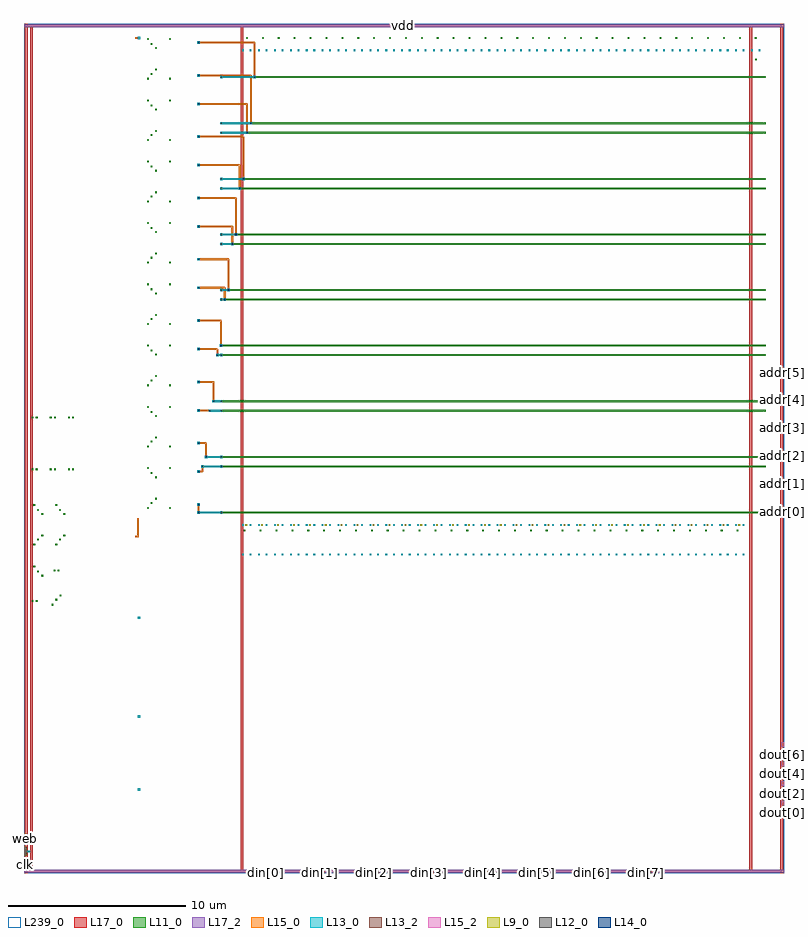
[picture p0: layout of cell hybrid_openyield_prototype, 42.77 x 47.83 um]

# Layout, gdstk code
import gdstk
lib = gdstk.Library(unit=1e-6, precision=5e-10)
def R(c, l, rs):  # rectangles x0, y0, x1, y1
    for r in rs: c.add(gdstk.rectangle(r[:2], r[2:], *l))
def A(c, l, x, y, w, h, nx, ny, dx, dy):  # array of equal rectangles
    R(c, l, [(x+i*dx, y+j*dy, x+i*dx+w, y+j*dy+h) for i in range(nx) for j in range(ny)])
L9_0 = (9, 0)
L11_0 = (11, 0)
L12_0 = (12, 0)
L13_0 = (13, 0)
L13_2 = (13, 2)
L14_0 = (14, 0)
L15_0 = (15, 0)
L15_2 = (15, 2)
L17_0 = (17, 0)
L17_2 = (17, 2)
L239_0 = (239, 0)

hybrid_openyield_prototy = lib.new_cell('hybrid_openyield_prototype')
A(hybrid_openyield_prototy, L9_0, 12.465, 19.575, 0.09, 0.09, 32, 1, 0.895, 0)
A(hybrid_openyield_prototy, L11_0, 12.3725, 19.2675, 0.09, 0.09, 32, 1, 0.895, 0)
A(hybrid_openyield_prototy, L11_0, 12.5, 46.97, 0.09, 0.09, 33, 1, 0.895, 0)
R(hybrid_openyield_prototy, L11_0, [(1.5525,15.08,1.6425,15.17), (0.4375,15.29,0.5275,15.38), (0.67,15.29,0.76,15.38), (1.7675,15.36,1.8575,15.45), (2.005,15.5925,2.095,15.6825), (0.9825,16.7125,1.0725,16.8025), (0.745,16.945,0.835,17.035), (1.675,17.015,1.765,17.105), (1.9075,17.015,1.9975,17.105), (0.53,17.225,0.62,17.315), (0.53,18.465,0.62,18.555), (1.7675,18.465,1.8575,18.555), (0.745,18.745,0.835,18.835), (1.9825,18.745,2.0725,18.835), (0.9825,18.9775,1.0725,19.0675), (2.22,18.9775,2.31,19.0675), (0.9825,20.1875,1.0725,20.2775), (2.22,20.1875,2.31,20.2775), (11.0325,20.2475,11.1675,20.3825), (11.1,20.27,41.74,20.36), (0.745,20.42,0.835,20.51), (1.9825,20.42,2.0725,20.51), (6.925,20.53,7.015,20.62), (8.1625,20.53,8.2525,20.62), (0.53,20.7,0.62,20.79), (1.7675,20.7,1.8575,20.79), (9.7625,20.7025,9.8975,20.8375), (9.785,20.725,9.875,20.815), (7.14,20.81,7.23,20.9), (7.3775,21.0425,7.4675,21.1325), (7.3775,22.2525,7.4675,22.3425), (7.14,22.485,7.23,22.575), (9.7625,22.5475,9.8975,22.6825), (9.785,22.57,9.875,22.66), (0.4375,22.7025,0.5275,22.7925), (0.67,22.7025,0.76,22.7925), (1.46,22.7025,1.55,22.7925), (1.6925,22.7025,1.7825,22.7925), (2.4825,22.7025,2.5725,22.7925), (2.715,22.7025,2.805,22.7925), (6.925,22.765,7.015,22.855), (8.1625,22.765,8.2525,22.855), (11.0325,22.8425,11.1675,22.9775), (11.1,22.865,41.74,22.955), (11.0325,23.3775,11.1675,23.5125), (11.1,23.4,41.74,23.49), (6.925,23.98,7.015,24.07), (8.1625,23.98,8.2525,24.07), (9.7625,24.1525,9.8975,24.2875), (9.785,24.175,9.875,24.265), (7.14,24.26,7.23,24.35), (7.3775,24.4925,7.4675,24.5825), (0.4375,25.6225,0.5275,25.7125), (0.67,25.6225,0.76,25.7125), (1.46,25.6225,1.55,25.7125), (1.6925,25.6225,1.7825,25.7125), (2.4825,25.6225,2.5725,25.7125), (2.715,25.6225,2.805,25.7125), (7.3775,25.7025,7.4675,25.7925), (7.14,25.935,7.23,26.025), (11.0325,25.9725,11.1675,26.1075), (11.1,25.995,41.74,26.085), (9.7625,25.9975,9.8975,26.1325), (9.785,26.02,9.875,26.11), (6.925,26.215,7.015,26.305), (8.1625,26.215,8.2525,26.305), (11.0325,26.5075,11.1675,26.6425), (11.1,26.53,41.74,26.62), (6.925,27.43,7.015,27.52), (8.1625,27.43,8.2525,27.52), (9.7625,27.6025,9.8975,27.7375), (9.785,27.625,9.875,27.715), (7.14,27.71,7.23,27.8), (7.3775,27.9425,7.4675,28.0325), (11.0325,29.1025,11.1675,29.2375), (11.1,29.125,41.74,29.215), (7.3775,29.1525,7.4675,29.2425), (7.14,29.385,7.23,29.475), (9.7625,29.4475,9.8975,29.5825), (9.785,29.47,9.875,29.56), (11.0325,29.6375,11.1675,29.7725), (11.1,29.66,41.74,29.75), (6.925,29.665,7.015,29.755), (8.1625,29.665,8.2525,29.755), (6.925,30.88,7.015,30.97), (8.1625,30.88,8.2525,30.97), (9.7625,31.0525,9.8975,31.1875), (9.785,31.075,9.875,31.165), (7.14,31.16,7.23,31.25), (7.3775,31.3925,7.4675,31.4825), (11.0325,32.2325,11.1675,32.3675), (11.1,32.255,41.74,32.345), (7.3775,32.6025,7.4675,32.6925), (11.0325,32.7675,11.1675,32.9025), (11.1,32.79,41.74,32.88), (7.14,32.835,7.23,32.925), (9.7625,32.8975,9.8975,33.0325), (9.785,32.92,9.875,33.01), (6.925,33.115,7.015,33.205), (8.1625,33.115,8.2525,33.205), (6.925,34.33,7.015,34.42), (8.1625,34.33,8.2525,34.42), (9.7625,34.5025,9.8975,34.6375), (9.785,34.525,9.875,34.615), (7.14,34.61,7.23,34.7), (7.3775,34.8425,7.4675,34.9325), (11.0325,35.3625,11.1675,35.4975), (11.1,35.385,41.74,35.475), (11.0325,35.8975,11.1675,36.0325), (11.1,35.92,41.74,36.01), (7.3775,36.0525,7.4675,36.1425), (7.14,36.285,7.23,36.375), (9.7625,36.3475,9.8975,36.4825), (9.785,36.37,9.875,36.46), (6.925,36.565,7.015,36.655), (8.1625,36.565,8.2525,36.655), (6.925,37.78,7.015,37.87), (8.1625,37.78,8.2525,37.87), (9.7625,37.9525,9.8975,38.0875), (9.785,37.975,9.875,38.065), (7.14,38.06,7.23,38.15), (7.3775,38.2925,7.4675,38.3825), (11.0325,38.4925,11.1675,38.6275), (11.1,38.515,41.74,38.605), (11.0325,39.0275,11.1675,39.1625), (11.1,39.05,41.74,39.14), (7.3775,39.5025,7.4675,39.5925), (7.14,39.735,7.23,39.825), (9.7625,39.7975,9.8975,39.9325), (9.785,39.82,9.875,39.91), (6.925,40.015,7.015,40.105), (8.1625,40.015,8.2525,40.105), (6.925,41.23,7.015,41.32), (8.1625,41.23,8.2525,41.32), (9.7625,41.4025,9.8975,41.5375), (9.785,41.425,9.875,41.515), (7.14,41.51,7.23,41.6), (11.0325,41.6225,11.1675,41.7575), (11.1,41.645,41.74,41.735), (7.3775,41.7425,7.4675,41.8325), (11.0325,42.1575,11.1675,42.2925), (11.1,42.18,41.74,42.27), (7.3775,42.9525,7.4675,43.0425), (7.14,43.185,7.23,43.275), (9.7625,43.2475,9.8975,43.3825), (9.785,43.27,9.875,43.36), (6.925,43.465,7.015,43.555), (8.1625,43.465,8.2525,43.555), (6.925,44.68,7.015,44.77), (8.1625,44.68,8.2525,44.77), (11.0325,44.7525,11.1675,44.8875), (11.1,44.775,41.74,44.865), (9.7625,44.8525,9.8975,44.9875), (9.785,44.875,9.875,44.965), (7.14,44.96,7.23,45.05), (7.3775,45.1925,7.4675,45.2825), (41.16,45.7725,41.25,45.8625), (7.3775,46.4025,7.4675,46.4925), (7.14,46.635,7.23,46.725), (9.7625,46.6975,9.8975,46.8325), (9.785,46.72,9.875,46.81), (6.925,46.915,7.015,47.005), (8.1625,46.915,8.2525,47.005)])
R(hybrid_openyield_prototy, L12_0, [(11.0675,20.2825,11.1325,20.3475), (9.7975,20.7375,9.8625,20.8025), (9.7975,22.5825,9.8625,22.6475), (11.0675,22.8775,11.1325,22.9425), (11.0675,23.4125,11.1325,23.4775), (9.7975,24.1875,9.8625,24.2525), (11.0675,26.0075,11.1325,26.0725), (9.7975,26.0325,9.8625,26.0975), (11.0675,26.5425,11.1325,26.6075), (9.7975,27.6375,9.8625,27.7025), (11.0675,29.1375,11.1325,29.2025), (9.7975,29.4825,9.8625,29.5475), (11.0675,29.6725,11.1325,29.7375), (9.7975,31.0875,9.8625,31.1525), (11.0675,32.2675,11.1325,32.3325), (11.0675,32.8025,11.1325,32.8675), (9.7975,32.9325,9.8625,32.9975), (9.7975,34.5375,9.8625,34.6025), (11.0675,35.3975,11.1325,35.4625), (11.0675,35.9325,11.1325,35.9975), (9.7975,36.3825,9.8625,36.4475), (9.7975,37.9875,9.8625,38.0525), (11.0675,38.5275,11.1325,38.5925), (11.0675,39.0625,11.1325,39.1275), (9.7975,39.8325,9.8625,39.8975), (9.7975,41.4375,9.8625,41.5025), (11.0675,41.6575,11.1325,41.7225), (11.0675,42.1925,11.1325,42.2575), (9.7975,43.2825,9.8625,43.3475), (11.0675,44.7875,11.1325,44.8525), (9.7975,44.8875,9.8625,44.9525), (9.7975,46.7325,9.8625,46.7975)])
A(hybrid_openyield_prototy, L13_0, 13.37, 0, 0.5, 0.16, 8, 1, 3.06, 0)
A(hybrid_openyield_prototy, L13_0, 0, 0.2425, 0.16, 0.5, 1, 3, 0, 0.75)
A(hybrid_openyield_prototy, L13_0, 0.16, 0.4575, 0.1825, 0.07, 1, 3, 0, 0.75)
R(hybrid_openyield_prototy, L13_0, [(6.395,4.6525,6.53,4.7875), (6.395,8.7575,6.53,8.8925), (6.395,14.325,6.53,14.46), (12.2875,17.8975,12.3775,17.9875), (12.7125,17.8975,12.8025,17.9875), (13.1825,17.8975,13.2725,17.9875), (13.6075,17.8975,13.6975,17.9875), (14.0775,17.8975,14.1675,17.9875), (14.5025,17.8975,14.5925,17.9875), (14.9725,17.8975,15.0625,17.9875), (15.3975,17.8975,15.4875,17.9875), (15.8675,17.8975,15.9575,17.9875), (16.2925,17.8975,16.3825,17.9875), (16.7625,17.8975,16.8525,17.9875), (17.1875,17.8975,17.2775,17.9875), (17.6575,17.8975,17.7475,17.9875), (18.0825,17.8975,18.1725,17.9875), (18.5525,17.8975,18.6425,17.9875), (18.9775,17.8975,19.0675,17.9875), (19.4475,17.8975,19.5375,17.9875), (19.8725,17.8975,19.9625,17.9875), (20.3425,17.8975,20.4325,17.9875), (20.7675,17.8975,20.8575,17.9875), (21.2375,17.8975,21.3275,17.9875), (21.6625,17.8975,21.7525,17.9875), (22.1325,17.8975,22.2225,17.9875), (22.5575,17.8975,22.6475,17.9875), (23.0275,17.8975,23.1175,17.9875), (23.4525,17.8975,23.5425,17.9875), (23.9225,17.8975,24.0125,17.9875), (24.3475,17.8975,24.4375,17.9875), (24.8175,17.8975,24.9075,17.9875), (25.2425,17.8975,25.3325,17.9875), (25.7125,17.8975,25.8025,17.9875), (26.1375,17.8975,26.2275,17.9875), (26.6075,17.8975,26.6975,17.9875), (27.0325,17.8975,27.1225,17.9875), (27.5025,17.8975,27.5925,17.9875), (27.9275,17.8975,28.0175,17.9875), (28.3975,17.8975,28.4875,17.9875), (28.8225,17.8975,28.9125,17.9875), (29.2925,17.8975,29.3825,17.9875), (29.7175,17.8975,29.8075,17.9875), (30.1875,17.8975,30.2775,17.9875), (30.6125,17.8975,30.7025,17.9875), (31.0825,17.8975,31.1725,17.9875), (31.5075,17.8975,31.5975,17.9875), (31.9775,17.8975,32.0675,17.9875), (32.4025,17.8975,32.4925,17.9875), (32.8725,17.8975,32.9625,17.9875), (33.2975,17.8975,33.3875,17.9875), (33.7675,17.8975,33.8575,17.9875), (34.1925,17.8975,34.2825,17.9875), (34.6625,17.8975,34.7525,17.9875), (35.0875,17.8975,35.1775,17.9875), (35.5575,17.8975,35.6475,17.9875), (35.9825,17.8975,36.0725,17.9875), (36.4525,17.8975,36.5425,17.9875), (36.8775,17.8975,36.9675,17.9875), (37.3475,17.8975,37.4375,17.9875), (37.7725,17.8975,37.8625,17.9875), (38.2425,17.8975,38.3325,17.9875), (38.6675,17.8975,38.7575,17.9875), (39.1375,17.8975,39.2275,17.9875), (39.5625,17.8975,39.6525,17.9875), (40.0325,17.8975,40.1225,17.9875), (40.4575,17.8975,40.5475,17.9875), (12.2875,19.5575,12.3775,19.6475), (12.7125,19.5575,12.8025,19.6475), (13.1825,19.5575,13.2725,19.6475), (13.6075,19.5575,13.6975,19.6475), (14.0775,19.5575,14.1675,19.6475), (14.5025,19.5575,14.5925,19.6475), (14.9725,19.5575,15.0625,19.6475), (15.3975,19.5575,15.4875,19.6475), (15.8675,19.5575,15.9575,19.6475), (16.2925,19.5575,16.3825,19.6475), (16.7625,19.5575,16.8525,19.6475), (17.1875,19.5575,17.2775,19.6475), (17.6575,19.5575,17.7475,19.6475), (18.0825,19.5575,18.1725,19.6475), (18.5525,19.5575,18.6425,19.6475), (18.9775,19.5575,19.0675,19.6475), (19.4475,19.5575,19.5375,19.6475), (19.8725,19.5575,19.9625,19.6475), (20.3425,19.5575,20.4325,19.6475), (20.7675,19.5575,20.8575,19.6475), (21.2375,19.5575,21.3275,19.6475), (21.6625,19.5575,21.7525,19.6475), (22.1325,19.5575,22.2225,19.6475), (22.5575,19.5575,22.6475,19.6475), (23.0275,19.5575,23.1175,19.6475), (23.4525,19.5575,23.5425,19.6475), (23.9225,19.5575,24.0125,19.6475), (24.3475,19.5575,24.4375,19.6475), (24.8175,19.5575,24.9075,19.6475), (25.2425,19.5575,25.3325,19.6475), (25.7125,19.5575,25.8025,19.6475), (26.1375,19.5575,26.2275,19.6475), (26.6075,19.5575,26.6975,19.6475), (27.0325,19.5575,27.1225,19.6475), (27.5025,19.5575,27.5925,19.6475), (27.9275,19.5575,28.0175,19.6475), (28.3975,19.5575,28.4875,19.6475), (28.8225,19.5575,28.9125,19.6475), (29.2925,19.5575,29.3825,19.6475), (29.7175,19.5575,29.8075,19.6475), (30.1875,19.5575,30.2775,19.6475), (30.6125,19.5575,30.7025,19.6475), (31.0825,19.5575,31.1725,19.6475), (31.5075,19.5575,31.5975,19.6475), (31.9775,19.5575,32.0675,19.6475), (32.4025,19.5575,32.4925,19.6475), (32.8725,19.5575,32.9625,19.6475), (33.2975,19.5575,33.3875,19.6475), (33.7675,19.5575,33.8575,19.6475), (34.1925,19.5575,34.2825,19.6475), (34.6625,19.5575,34.7525,19.6475), (35.0875,19.5575,35.1775,19.6475), (35.5575,19.5575,35.6475,19.6475), (35.9825,19.5575,36.0725,19.6475), (36.4525,19.5575,36.5425,19.6475), (36.8775,19.5575,36.9675,19.6475), (37.3475,19.5575,37.4375,19.6475), (37.7725,19.5575,37.8625,19.6475), (38.2425,19.5575,38.3325,19.6475), (38.6675,19.5575,38.7575,19.6475), (39.1375,19.5575,39.2275,19.6475), (39.5625,19.5575,39.6525,19.6475), (40.0325,19.5575,40.1225,19.6475), (40.4575,19.5575,40.5475,19.6475), (9.7625,20.2475,9.8975,20.3825), (11.0325,20.2475,11.1675,20.3825), (9.83,20.27,11.1,20.36), (9.7625,20.7025,9.8975,20.8375), (9.7625,22.5475,9.8975,22.6825), (9.9725,22.8425,10.1075,22.9775), (11.0325,22.8425,11.1675,22.9775), (10.04,22.865,11.1,22.955), (10.1825,23.3775,10.3175,23.5125), (11.0325,23.3775,11.1675,23.5125), (10.25,23.4,11.1,23.49), (9.7625,24.1525,9.8975,24.2875), (10.3925,25.9725,10.5275,26.1075), (11.0325,25.9725,11.1675,26.1075), (10.46,25.995,11.1,26.085), (9.7625,25.9975,9.8975,26.1325), (10.6025,26.5075,10.7375,26.6425), (11.0325,26.5075,11.1675,26.6425), (10.67,26.53,11.1,26.62), (9.7625,27.6025,9.8975,27.7375), (10.8125,29.1025,10.9475,29.2375), (11.0325,29.1025,11.1675,29.2375), (10.88,29.125,11.1,29.215), (9.7625,29.4475,9.8975,29.5825), (11.0225,29.6375,11.1675,29.7725), (11.05,29.66,11.14,29.75), (9.7625,31.0525,9.8975,31.1875), (11.0325,32.2325,11.1675,32.3675), (11.2325,32.2325,11.3675,32.3675), (11.1,32.255,11.3,32.345), (11.0325,32.7675,11.1675,32.9025), (11.4425,32.7675,11.5775,32.9025), (11.1,32.79,11.51,32.88), (9.7625,32.8975,9.8975,33.0325), (9.7625,34.5025,9.8975,34.6375), (11.0325,35.3625,11.1675,35.4975), (11.6525,35.3625,11.7875,35.4975), (11.1,35.385,11.72,35.475), (11.0325,35.8975,11.1675,36.0325), (11.8625,35.8975,11.9975,36.0325), (11.1,35.92,11.93,36.01), (9.7625,36.3475,9.8975,36.4825), (9.7625,37.9525,9.8975,38.0875), (11.0325,38.4925,11.1675,38.6275), (12.0725,38.4925,12.2075,38.6275), (11.1,38.515,12.14,38.605), (11.0325,39.0275,11.1675,39.1625), (12.2825,39.0275,12.4175,39.1625), (11.1,39.05,12.35,39.14), (9.7625,39.7975,9.8975,39.9325), (9.7625,41.4025,9.8975,41.5375), (11.0325,41.6225,11.1675,41.7575), (12.4925,41.6225,12.6275,41.7575), (11.1,41.645,12.56,41.735), (11.0325,42.1575,11.1675,42.2925), (12.7025,42.1575,12.8375,42.2925), (11.1,42.18,12.77,42.27), (9.7625,43.2475,9.8975,43.3825), (11.0325,44.7525,11.1675,44.8875), (12.9125,44.7525,13.0475,44.8875), (11.1,44.775,12.98,44.865), (9.7625,44.8525,9.8975,44.9875), (12.2875,46.2875,12.3775,46.3775), (12.7125,46.2875,12.8025,46.3775), (13.1825,46.2875,13.2725,46.3775), (13.6075,46.2875,13.6975,46.3775), (14.0775,46.2875,14.1675,46.3775), (14.5025,46.2875,14.5925,46.3775), (14.9725,46.2875,15.0625,46.3775), (15.3975,46.2875,15.4875,46.3775), (15.8675,46.2875,15.9575,46.3775), (16.2925,46.2875,16.3825,46.3775), (16.7625,46.2875,16.8525,46.3775), (17.1875,46.2875,17.2775,46.3775), (17.6575,46.2875,17.7475,46.3775), (18.0825,46.2875,18.1725,46.3775), (18.5525,46.2875,18.6425,46.3775), (18.9775,46.2875,19.0675,46.3775), (19.4475,46.2875,19.5375,46.3775), (19.8725,46.2875,19.9625,46.3775), (20.3425,46.2875,20.4325,46.3775), (20.7675,46.2875,20.8575,46.3775), (21.2375,46.2875,21.3275,46.3775), (21.6625,46.2875,21.7525,46.3775), (22.1325,46.2875,22.2225,46.3775), (22.5575,46.2875,22.6475,46.3775), (23.0275,46.2875,23.1175,46.3775), (23.4525,46.2875,23.5425,46.3775), (23.9225,46.2875,24.0125,46.3775), (24.3475,46.2875,24.4375,46.3775), (24.8175,46.2875,24.9075,46.3775), (25.2425,46.2875,25.3325,46.3775), (25.7125,46.2875,25.8025,46.3775), (26.1375,46.2875,26.2275,46.3775), (26.6075,46.2875,26.6975,46.3775), (27.0325,46.2875,27.1225,46.3775), (27.5025,46.2875,27.5925,46.3775), (27.9275,46.2875,28.0175,46.3775), (28.3975,46.2875,28.4875,46.3775), (28.8225,46.2875,28.9125,46.3775), (29.2925,46.2875,29.3825,46.3775), (29.7175,46.2875,29.8075,46.3775), (30.1875,46.2875,30.2775,46.3775), (30.6125,46.2875,30.7025,46.3775), (31.0825,46.2875,31.1725,46.3775), (31.5075,46.2875,31.5975,46.3775), (31.9775,46.2875,32.0675,46.3775), (32.4025,46.2875,32.4925,46.3775), (32.8725,46.2875,32.9625,46.3775), (33.2975,46.2875,33.3875,46.3775), (33.7675,46.2875,33.8575,46.3775), (34.1925,46.2875,34.2825,46.3775), (34.6625,46.2875,34.7525,46.3775), (35.0875,46.2875,35.1775,46.3775), (35.5575,46.2875,35.6475,46.3775), (35.9825,46.2875,36.0725,46.3775), (36.4525,46.2875,36.5425,46.3775), (36.8775,46.2875,36.9675,46.3775), (37.3475,46.2875,37.4375,46.3775), (37.7725,46.2875,37.8625,46.3775), (38.2425,46.2875,38.3325,46.3775), (38.6675,46.2875,38.7575,46.3775), (39.1375,46.2875,39.2275,46.3775), (39.5625,46.2875,39.6525,46.3775), (40.0325,46.2875,40.1225,46.3775), (40.4575,46.2875,40.5475,46.3775), (40.9275,46.2875,41.0175,46.3775), (41.3525,46.2875,41.4425,46.3775), (9.7625,46.6975,9.8975,46.8325), (6.395,46.9475,6.53,47.0825)])
A(hybrid_openyield_prototy, L13_2, 13.37, 0, 0.5, 0.16, 8, 1, 3.06, 0)
A(hybrid_openyield_prototy, L13_2, 0, 0.2425, 0.16, 0.5, 1, 3, 0, 0.75)
R(hybrid_openyield_prototy, L14_0, [(9.7975,20.2825,9.8625,20.3475), (9.7975,20.7375,9.8625,20.8025), (9.7975,22.5825,9.8625,22.6475), (10.0075,22.8775,10.0725,22.9425), (10.2175,23.4125,10.2825,23.4775), (9.7975,24.1875,9.8625,24.2525), (10.4275,26.0075,10.4925,26.0725), (9.7975,26.0325,9.8625,26.0975), (10.6375,26.5425,10.7025,26.6075), (9.7975,27.6375,9.8625,27.7025), (10.8475,29.1375,10.9125,29.2025), (9.7975,29.4825,9.8625,29.5475), (11.0575,29.6725,11.1225,29.7375), (9.7975,31.0875,9.8625,31.1525), (11.2675,32.2675,11.3325,32.3325), (11.4775,32.8025,11.5425,32.8675), (9.7975,32.9325,9.8625,32.9975), (9.7975,34.5375,9.8625,34.6025), (11.6875,35.3975,11.7525,35.4625), (11.8975,35.9325,11.9625,35.9975), (9.7975,36.3825,9.8625,36.4475), (9.7975,37.9875,9.8625,38.0525), (12.1075,38.5275,12.1725,38.5925), (12.3175,39.0625,12.3825,39.1275), (9.7975,39.8325,9.8625,39.8975), (9.7975,41.4375,9.8625,41.5025), (12.5275,41.6575,12.5925,41.7225), (12.7375,42.1925,12.8025,42.2575), (9.7975,43.2825,9.8625,43.3475), (12.9475,44.7875,13.0125,44.8525), (9.7975,44.8875,9.8625,44.9525), (9.7975,46.7325,9.8625,46.7975)])
A(hybrid_openyield_prototy, L15_0, 42.6125, 3.2875, 0.16, 0.25, 1, 8, 0, 0.55)
A(hybrid_openyield_prototy, L15_0, 42.6125, 20.1475, 0.16, 0.5, 1, 6, 0, 1.565)
R(hybrid_openyield_prototy, L15_0, [(6.395,4.6525,6.53,4.7875), (6.395,8.7575,6.53,8.8925), (6.395,14.325,6.53,14.46), (6.2625,18.925,6.4575,19.015), (6.3675,18.925,6.4575,19.9925), (9.7625,20.2475,9.8975,20.3825), (9.785,20.315,9.875,20.77), (9.7625,20.7025,9.8975,20.8375), (9.7625,22.5475,9.8975,22.6825), (9.83,22.57,10.04,22.66), (9.995,22.615,10.085,22.91), (9.9725,22.8425,10.1075,22.9775), (10.1825,23.3775,10.3175,23.5125), (10.205,23.445,10.295,24.22), (9.7625,24.1525,9.8975,24.2875), (9.83,24.175,10.25,24.265), (10.3925,25.9725,10.5275,26.1075), (9.7625,25.9975,9.8975,26.1325), (10.415,26.0075,10.505,26.0975), (9.83,26.02,10.46,26.11), (10.6025,26.5075,10.7375,26.6425), (10.625,26.575,10.715,27.67), (9.7625,27.6025,9.8975,27.7375), (9.83,27.625,10.67,27.715), (10.8125,29.1025,10.9475,29.2375), (10.835,29.17,10.925,29.515), (9.7625,29.4475,9.8975,29.5825), (9.83,29.47,10.88,29.56), (11.0225,29.6375,11.1575,29.7725), (11.045,29.705,11.135,31.12), (9.7625,31.0525,9.8975,31.1875), (9.83,31.075,11.09,31.165), (11.2325,32.2325,11.3675,32.3675), (11.255,32.3,11.345,32.965), (11.4425,32.7675,11.5775,32.9025), (11.465,32.835,11.555,34.57), (9.7625,32.8975,9.8975,33.0325), (9.83,32.92,11.3,33.01), (9.7625,34.5025,9.8975,34.6375), (9.83,34.525,11.51,34.615), (11.6525,35.3625,11.7875,35.4975), (11.675,35.43,11.765,36.415), (11.8625,35.8975,11.9975,36.0325), (11.885,35.965,11.975,38.02), (9.7625,36.3475,9.8975,36.4825), (9.83,36.37,11.72,36.46), (9.7625,37.9525,9.8975,38.0875), (9.83,37.975,11.93,38.065), (12.0725,38.4925,12.2075,38.6275), (12.095,38.56,12.185,39.865), (12.2825,39.0275,12.4175,39.1625), (12.305,39.095,12.395,41.47), (9.7625,39.7975,9.8975,39.9325), (9.83,39.82,12.14,39.91), (9.7625,41.4025,9.8975,41.5375), (9.83,41.425,12.35,41.515), (12.4925,41.6225,12.6275,41.7575), (12.515,41.69,12.605,43.315), (12.7025,42.1575,12.8375,42.2925), (12.725,42.225,12.815,44.92), (9.7625,43.2475,9.8975,43.3825), (9.83,43.27,12.56,43.36), (12.9125,44.7525,13.0475,44.8875), (12.935,44.82,13.025,46.765), (9.7625,44.8525,9.8975,44.9875), (9.83,44.875,12.77,44.965), (9.7625,46.6975,9.8975,46.8325), (9.83,46.72,12.98,46.81), (6.395,46.9475,6.53,47.0825), (6.2625,46.97,6.4625,47.06)])
A(hybrid_openyield_prototy, L15_2, 42.6125, 3.2875, 0.16, 0.25, 1, 8, 0, 0.55)
A(hybrid_openyield_prototy, L15_2, 42.6125, 20.1475, 0.16, 0.5, 1, 6, 0, 1.565)
R(hybrid_openyield_prototy, L17_0, [(0.05,0,0.2,47.835), (42.5725,0,42.7225,47.835), (0,0.05,42.7725,0.2), (0.3425,0.2,0.5025,47.635), (12.19,0.2,12.35,47.635), (40.83,0.2,40.99,47.635), (0,47.635,42.7725,47.785)])
R(hybrid_openyield_prototy, L17_2, [(0,0.05,42.7725,0.2), (0,47.635,42.7725,47.785)])
R(hybrid_openyield_prototy, L239_0, [(0,0,42.7725,47.835)])
hybrid_openyield_prototy.add(gdstk.Label('clk', (0.08,0.4925), layer=13, texttype=1))
hybrid_openyield_prototy.add(gdstk.Label('csb', (0.08,1.2425), layer=13, texttype=1))
hybrid_openyield_prototy.add(gdstk.Label('web', (0.08,1.9925), layer=13, texttype=1))
hybrid_openyield_prototy.add(gdstk.Label('addr[0]', (42.6925,20.3975), layer=15, texttype=1))
hybrid_openyield_prototy.add(gdstk.Label('addr[1]', (42.6925,21.9625), layer=15, texttype=1))
hybrid_openyield_prototy.add(gdstk.Label('addr[2]', (42.6925,23.5275), layer=15, texttype=1))
hybrid_openyield_prototy.add(gdstk.Label('addr[3]', (42.6925,25.0925), layer=15, texttype=1))
hybrid_openyield_prototy.add(gdstk.Label('addr[4]', (42.6925,26.6575), layer=15, texttype=1))
hybrid_openyield_prototy.add(gdstk.Label('addr[5]', (42.6925,28.2225), layer=15, texttype=1))
hybrid_openyield_prototy.add(gdstk.Label('din[0]', (13.62,0.08), layer=13, texttype=1))
hybrid_openyield_prototy.add(gdstk.Label('dout[0]', (42.6925,3.4125), layer=15, texttype=1))
hybrid_openyield_prototy.add(gdstk.Label('din[1]', (16.68,0.08), layer=13, texttype=1))
hybrid_openyield_prototy.add(gdstk.Label('dout[1]', (42.6925,3.9625), layer=15, texttype=1))
hybrid_openyield_prototy.add(gdstk.Label('din[2]', (19.74,0.08), layer=13, texttype=1))
hybrid_openyield_prototy.add(gdstk.Label('dout[2]', (42.6925,4.5125), layer=15, texttype=1))
hybrid_openyield_prototy.add(gdstk.Label('din[3]', (22.8,0.08), layer=13, texttype=1))
hybrid_openyield_prototy.add(gdstk.Label('dout[3]', (42.6925,5.0625), layer=15, texttype=1))
hybrid_openyield_prototy.add(gdstk.Label('din[4]', (25.86,0.08), layer=13, texttype=1))
hybrid_openyield_prototy.add(gdstk.Label('dout[4]', (42.6925,5.6125), layer=15, texttype=1))
hybrid_openyield_prototy.add(gdstk.Label('din[5]', (28.92,0.08), layer=13, texttype=1))
hybrid_openyield_prototy.add(gdstk.Label('dout[5]', (42.6925,6.1625), layer=15, texttype=1))
hybrid_openyield_prototy.add(gdstk.Label('din[6]', (31.98,0.08), layer=13, texttype=1))
hybrid_openyield_prototy.add(gdstk.Label('dout[6]', (42.6925,6.7125), layer=15, texttype=1))
hybrid_openyield_prototy.add(gdstk.Label('din[7]', (35.04,0.08), layer=13, texttype=1))
hybrid_openyield_prototy.add(gdstk.Label('dout[7]', (42.6925,7.2625), layer=15, texttype=1))
hybrid_openyield_prototy.add(gdstk.Label('vdd', (21.385,47.71), layer=17, texttype=1))
hybrid_openyield_prototy.add(gdstk.Label('gnd', (21.385,0.125), layer=17, texttype=1))

lib.write_gds('hybrid_openyield_prototype.gds')
